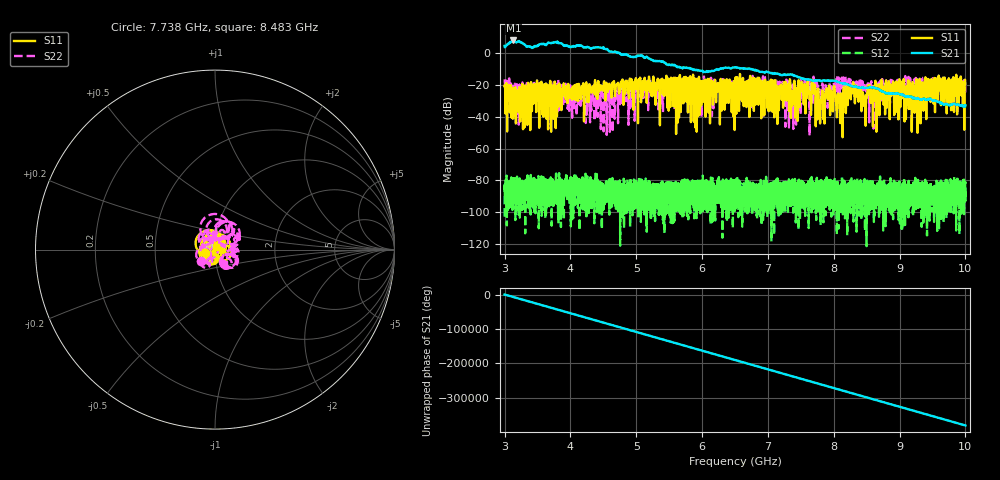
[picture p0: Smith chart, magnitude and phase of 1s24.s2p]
!Agilent Technologies,E8363B,MY43030572,A.06.04.32
!Agilent E8363B: A.06.04.32
!Date: Monday, June 06, 2011 14:32:27
!Correction: S11(Full 2 Port(1,2)) S21(Full 2 Port(1,2)) S12(Full 2 Port(1,2)) S22(Full 2 Port(1,2))
!S2P File: Measurements: S11, S21, S12, S22:
# Hz S  dB  R 50
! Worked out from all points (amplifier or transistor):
!   6401 points, 3 GHz to 10 GHz, reference 50 ohm
!   highest |S21| = 7.9 dB at 3.133 GHz (marker M1)
!   |S21| within 3 dB of that: 3.514 GHz to 3.893 GHz (379.1 MHz wide, 10.2 % of centre)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
!   unconditionally stable (mu >= 1): start of sweep to end of sweep
!   at 4.166 GHz: K = 13256.35, MAG = 4.7 dB, |S12| = -93.2 dB
!   at 6.5 GHz: K = 28333.65, MAG = -8.7 dB, |S12| = -86.5 dB
!   at 10 GHz: K = 987881.30, MAG = -32.7 dB, |S12| = -93.3 dB
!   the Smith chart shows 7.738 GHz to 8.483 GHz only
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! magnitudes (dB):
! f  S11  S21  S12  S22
! 3 GHz  -20.8  4.5  -102.8  -16.5
! 3.133 GHz  -23.4  7.9  -95.0  -20.8
! 4.123 GHz  -20.8  4.9  -82.1  -31.6
! 4.167 GHz  -22.4  4.6  -92.4  -24.3
! 4.284 GHz  -20.2  3.6  -83.9  -24.1
! 4.354 GHz  -21.8  3.6  -86.2  -20.9
! 4.648 GHz  -21.2  0.6  -80.1  -29.2
! 5.131 GHz  -16.2  -2.7  -98.8  -19.4
! 5.334 GHz  -19.3  -5.0  -92.7  -30.3
! 6.049 GHz  -22.0  -11.9  -96.5  -20.6
! 6.5 GHz  -19.1  -8.8  -86.5  -21.8
! 7.052 GHz  -22.8  -12.6  -118.3  -18.1
! 7.352 GHz  -28.7  -13.4  -84.6  -20.8
! 7.667 GHz  -17.8  -17.2  -84.9  -18.8
! 7.761 GHz  -22.4  -17.1  -87.6  -21.0
! 7.904 GHz  -26.7  -17.2  -90.3  -28.4
! 8.108 GHz  -26.0  -18.6  -86.7  -21.4
! 8.275 GHz  -22.6  -20.6  -91.3  -19.5
! 8.455 GHz  -27.3  -21.8  -87.0  -21.5
! 8.543 GHz  -20.2  -21.5  -90.5  -23.4
! 8.834 GHz  -19.3  -25.0  -91.4  -20.6
! 10 GHz  -19.2  -32.8  -93.3  -19.4
